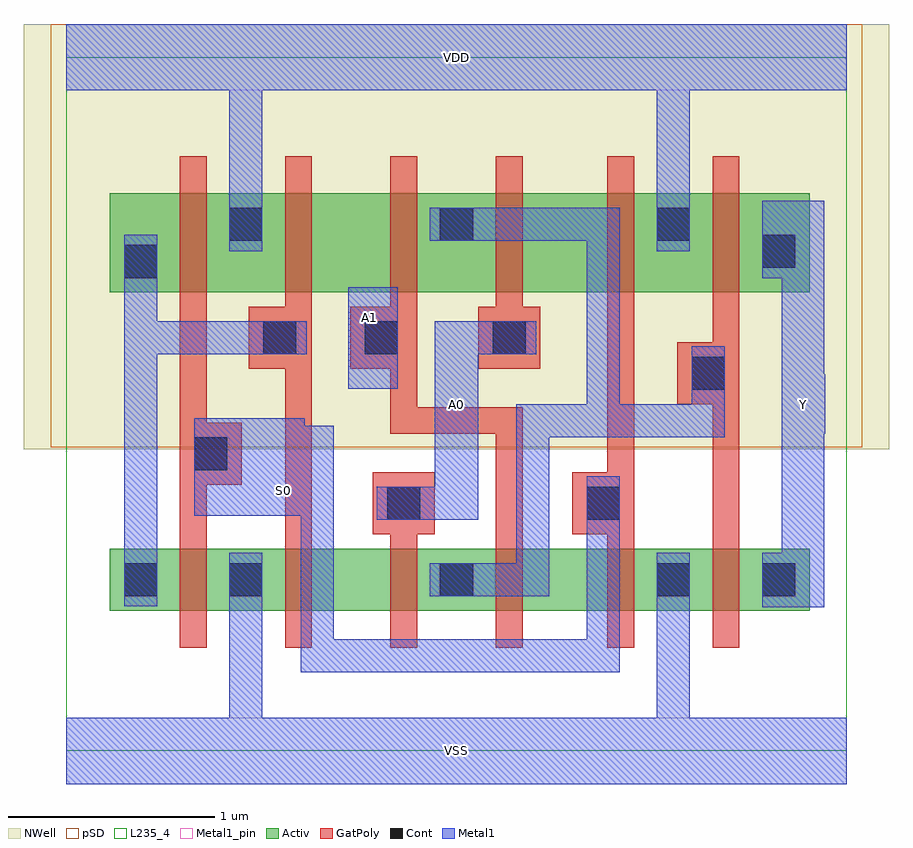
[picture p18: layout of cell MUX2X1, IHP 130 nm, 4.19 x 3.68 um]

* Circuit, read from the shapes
.subckt MUX2X1 A0 A1 S0 VDD VSS Y
XM1 VSS S0 n1 VSUBS sg13_lv_nmos w=0.3u l=0.13u
XM2 n2 n1 VSS VSUBS sg13_lv_nmos w=0.3u l=0.13u
XM3 n3 A0 n2 VSUBS sg13_lv_nmos w=0.3u l=0.13u
XM4 n4 A1 n3 VSUBS sg13_lv_nmos w=0.3u l=0.13u
XM5 VSS S0 n4 VSUBS sg13_lv_nmos w=0.3u l=0.13u
XM6 Y n3 VSS VSUBS sg13_lv_nmos w=0.3u l=0.13u
XM7 VDD S0 n1 n5 sg13_lv_pmos w=0.48u l=0.13u
XM8 n6 n1 VDD n5 sg13_lv_pmos w=0.48u l=0.13u
XM9 n3 A1 n6 n5 sg13_lv_pmos w=0.48u l=0.13u
XM10 n7 A0 n3 n5 sg13_lv_pmos w=0.48u l=0.13u
XM11 VDD S0 n7 n5 sg13_lv_pmos w=0.48u l=0.13u
XM12 Y n3 VDD n5 sg13_lv_pmos w=0.48u l=0.13u
.ends

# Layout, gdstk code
import gdstk
lib = gdstk.Library(unit=1e-6, precision=1e-09)
def R(c, l, rs):  # rectangles x0, y0, x1, y1
    for r in rs: c.add(gdstk.rectangle(r[:2], r[2:], *l))
def P(c, l, *ps):  # polygons
    for p in ps: c.add(gdstk.Polygon(p, *l))
Activ = (1, 0)
GatPoly = (5, 0)
Cont = (6, 0)
Metal1 = (8, 0)
Metal1_pin = (8, 2)
pSD = (14, 0)
NWell = (31, 0)
L235_4 = (235, 4)

mux2x1 = lib.new_cell('MUX2X1')
R(mux2x1, Activ, [(0.21,0.68,3.6,0.98), (0.21,2.22,3.6,2.7)])
R(mux2x1, GatPoly, [(0.55,0.5,0.68,2.88), (1.06,0.5,1.19,2.88), (1.57,0.5,1.7,1.16), (2.62,0.5,2.75,2.88), (3.13,0.5,3.26,2.88), (1.485,1.05,1.785,1.35), (2.45,1.05,2.75,1.35), (0.55,1.29,0.85,1.59), (2.96,1.68,3.26,1.98), (0.885,1.85,1.19,2.15), (1.375,1.85,1.675,2.15), (1.995,1.85,2.295,2.15), (2.08,2.03,2.21,2.88)])
P(mux2x1, GatPoly, [(2.08,0.5),(2.08,1.535),(1.57,1.535),(1.57,2.88),(1.7,2.88),(1.7,1.665),(2.21,1.665),(2.21,0.5)])
R(mux2x1, Cont, [(0.28,0.75,0.44,0.91), (0.79,0.75,0.95,0.91), (1.81,0.75,1.97,0.91), (1.81,0.75,1.97,0.91), (2.86,0.75,3.02,0.91), (2.86,0.75,3.02,0.91), (3.37,0.75,3.53,0.91), (1.555,1.12,1.715,1.28), (2.52,1.12,2.68,1.28), (0.62,1.36,0.78,1.52), (3.03,1.75,3.19,1.91), (0.955,1.92,1.115,2.08), (1.445,1.92,1.605,2.08), (2.065,1.92,2.225,2.08), (0.28,2.29,0.44,2.45), (3.37,2.34,3.53,2.5), (0.79,2.47,0.95,2.63), (1.81,2.47,1.97,2.63), (2.86,2.47,3.02,2.63), (2.86,2.47,3.02,2.63)])
R(mux2x1, Metal1, [(1.365,1.755,1.605,2.245)])
P(mux2x1, Metal1, [(3.37,0.695),(3.37,0.96),(3.465,0.96),(3.465,2.29),(3.37,2.29),(3.37,2.665),(3.67,2.665),(3.67,1.825),(3.675,1.825),(3.675,1.535),(3.67,1.535),(3.67,0.695)],
  [(1.135,0.38),(1.135,1.14),(0.62,1.14),(0.62,1.61),(1.155,1.61),(1.155,1.575),(1.295,1.575),(1.295,0.54),(2.52,0.54),(2.52,1.33),(2.68,1.33),(2.68,0.38)],
  [(1.505,1.12),(1.505,1.28),(1.785,1.28),(1.785,2.08),(2.275,2.08),(2.275,1.92),(1.995,1.92),(1.995,1.12)],
  [(1.76,0.75),(1.76,0.91),(2.18,0.91),(2.18,1.68),(2.52,1.68),(2.52,2.47),(1.76,2.47),(1.76,2.63),(2.68,2.63),(2.68,1.68),(3.03,1.68),(3.03,1.96),(3.19,1.96),(3.19,1.52),(2.34,1.52),(2.34,0.75)],
  [(0.79,2.42),(0.79,3.2),(0,3.2),(0,3.52),(3.78,3.52),(3.78,3.2),(3.02,3.2),(3.02,2.42),(2.86,2.42),(2.86,3.2),(0.95,3.2),(0.95,2.42)],
  [(0,-0.16),(0,0.16),(0.79,0.16),(0.79,0.96),(0.95,0.96),(0.95,0.16),(2.86,0.16),(2.86,0.96),(3.02,0.96),(3.02,0.16),(3.78,0.16),(3.78,-0.16)],
  [(0.28,0.7),(0.28,2.5),(0.44,2.5),(0.44,2.08),(1.165,2.08),(1.165,1.92),(0.44,1.92),(0.44,0.7)])
R(mux2x1, Metal1_pin, [(0,-0.16,3.78,0.16), (1.365,1.755,1.605,2.245), (0,3.2,3.78,3.52)])
P(mux2x1, Metal1_pin, [(3.37,0.695),(3.37,0.96),(3.465,0.96),(3.465,2.29),(3.37,2.29),(3.37,2.665),(3.67,2.665),(3.67,1.825),(3.675,1.825),(3.675,1.535),(3.67,1.535),(3.67,0.695)],
  [(1.505,1.12),(1.505,1.28),(1.785,1.28),(1.785,2.08),(2.275,2.08),(2.275,1.92),(1.995,1.92),(1.995,1.12)],
  [(1.135,0.38),(1.135,1.14),(0.62,1.14),(0.62,1.61),(1.155,1.61),(1.155,1.575),(1.295,1.575),(1.295,0.54),(2.52,0.54),(2.52,1.33),(2.68,1.33),(2.68,0.38)])
R(mux2x1, pSD, [(-0.075,1.47,3.855,3.52)])
R(mux2x1, NWell, [(-0.205,1.46,3.985,3.52)])
R(mux2x1, L235_4, [(0,0,3.78,3.36)])
mux2x1.add(gdstk.Label('A0', (1.89,1.68), layer=8, texttype=25))
mux2x1.add(gdstk.Label('VSS', (1.89,0), layer=8, texttype=25))
mux2x1.add(gdstk.Label('S0', (1.05,1.26), layer=8, texttype=25))
mux2x1.add(gdstk.Label('VDD', (1.89,3.36), layer=8, texttype=25))
mux2x1.add(gdstk.Label('A1', (1.47,2.1), layer=8, texttype=25))
mux2x1.add(gdstk.Label('Y', (3.57,1.68), layer=8, texttype=25))

lib.write_gds('MUX2X1.gds')
